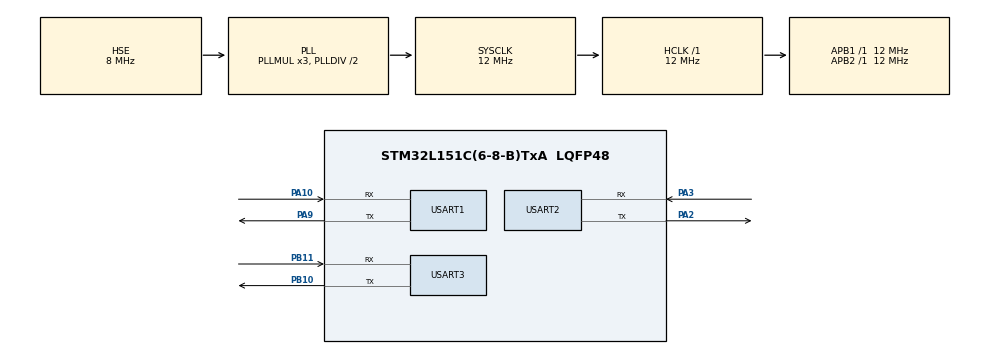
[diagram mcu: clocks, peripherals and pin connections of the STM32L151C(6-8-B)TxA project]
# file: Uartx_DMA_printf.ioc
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Dma.Request0=USART1_RX
Dma.Request1=USART1_TX
Dma.Request2=USART2_RX
Dma.Request3=USART2_TX
Dma.Request4=USART3_RX
Dma.Request5=USART3_TX
Dma.USART1_RX.0.Direction=DMA_PERIPH_TO_MEMORY
Dma.USART1_RX.0.Instance=DMA1_Channel5
Dma.USART1_RX.0.MemDataAlignment=DMA_MDATAALIGN_BYTE
Dma.USART1_RX.0.MemInc=DMA_MINC_ENABLE
Dma.USART1_RX.0.Mode=DMA_NORMAL
Dma.USART1_RX.0.PeriphDataAlignment=DMA_PDATAALIGN_BYTE
Dma.USART1_RX.0.PeriphInc=DMA_PINC_DISABLE
Dma.USART1_RX.0.Priority=DMA_PRIORITY_LOW
Dma.USART1_TX.1.Direction=DMA_MEMORY_TO_PERIPH
Dma.USART1_TX.1.Instance=DMA1_Channel4
Dma.USART1_TX.1.MemDataAlignment=DMA_MDATAALIGN_BYTE
Dma.USART1_TX.1.MemInc=DMA_MINC_ENABLE
Dma.USART1_TX.1.Mode=DMA_NORMAL
Dma.USART1_TX.1.PeriphDataAlignment=DMA_PDATAALIGN_BYTE
Dma.USART1_TX.1.PeriphInc=DMA_PINC_DISABLE
Dma.USART1_TX.1.Priority=DMA_PRIORITY_LOW
Dma.USART2_RX.2.Direction=DMA_PERIPH_TO_MEMORY
Dma.USART2_RX.2.Instance=DMA1_Channel6
Dma.USART2_RX.2.MemDataAlignment=DMA_MDATAALIGN_BYTE
Dma.USART2_RX.2.MemInc=DMA_MINC_ENABLE
Dma.USART2_RX.2.Mode=DMA_NORMAL
Dma.USART2_RX.2.PeriphDataAlignment=DMA_PDATAALIGN_BYTE
Dma.USART2_RX.2.PeriphInc=DMA_PINC_DISABLE
Dma.USART2_RX.2.Priority=DMA_PRIORITY_LOW
Dma.USART2_TX.3.Direction=DMA_MEMORY_TO_PERIPH
Dma.USART2_TX.3.Instance=DMA1_Channel7
Dma.USART2_TX.3.MemDataAlignment=DMA_MDATAALIGN_BYTE
Dma.USART2_TX.3.MemInc=DMA_MINC_ENABLE
Dma.USART2_TX.3.Mode=DMA_NORMAL
Dma.USART2_TX.3.PeriphDataAlignment=DMA_PDATAALIGN_BYTE
Dma.USART2_TX.3.PeriphInc=DMA_PINC_DISABLE
Dma.USART2_TX.3.Priority=DMA_PRIORITY_LOW
Dma.USART3_RX.4.Direction=DMA_PERIPH_TO_MEMORY
Dma.USART3_RX.4.Instance=DMA1_Channel3
Dma.USART3_RX.4.MemDataAlignment=DMA_MDATAALIGN_BYTE
Dma.USART3_RX.4.MemInc=DMA_MINC_ENABLE
Dma.USART3_RX.4.Mode=DMA_NORMAL
Dma.USART3_RX.4.PeriphDataAlignment=DMA_PDATAALIGN_BYTE
Dma.USART3_RX.4.PeriphInc=DMA_PINC_DISABLE
Dma.USART3_RX.4.Priority=DMA_PRIORITY_LOW
Dma.USART3_TX.5.Direction=DMA_MEMORY_TO_PERIPH
Dma.USART3_TX.5.Instance=DMA1_Channel2
Dma.USART3_TX.5.MemDataAlignment=DMA_MDATAALIGN_BYTE
Dma.USART3_TX.5.MemInc=DMA_MINC_ENABLE
Dma.USART3_TX.5.Mode=DMA_NORMAL
Dma.USART3_TX.5.PeriphDataAlignment=DMA_PDATAALIGN_BYTE
Dma.USART3_TX.5.PeriphInc=DMA_PINC_DISABLE
Dma.USART3_TX.5.Priority=DMA_PRIORITY_LOW
Mcu.Family=STM32L1
Mcu.Name=STM32L151C(6-8-B)TxA
Mcu.Package=LQFP48
NVIC.DMA1_Channel2_IRQn=true\:0\:0\:false\:false\:true\:false\:true\:true
NVIC.DMA1_Channel3_IRQn=true\:0\:0\:false\:false\:true\:false\:true\:true
NVIC.DMA1_Channel4_IRQn=true\:0\:0\:false\:false\:true\:false\:true\:true
NVIC.DMA1_Channel5_IRQn=true\:0\:0\:false\:false\:true\:false\:true\:true
NVIC.DMA1_Channel6_IRQn=true\:0\:0\:false\:false\:true\:false\:true\:true
NVIC.DMA1_Channel7_IRQn=true\:0\:0\:false\:false\:true\:false\:true\:true
NVIC.PriorityGroup=NVIC_PRIORITYGROUP_4
NVIC.USART1_IRQn=true\:0\:0\:false\:false\:true\:false\:true\:true
NVIC.USART2_IRQn=true\:0\:0\:false\:false\:true\:false\:true\:true
NVIC.USART3_IRQn=true\:0\:0\:false\:false\:true\:false\:true\:true
PA10.Mode=Asynchronous
PA10.Signal=USART1_RX
PA13.Mode=Serial_Wire
PA13.Signal=SYS_JTMS-SWDIO
PA14.Mode=Serial_Wire
PA14.Signal=SYS_JTCK-SWCLK
PA2.Mode=Asynchronous
PA2.Signal=USART2_TX
PA3.Mode=Asynchronous
PA3.Signal=USART2_RX
PA9.Mode=Asynchronous
PA9.Signal=USART1_TX
PB10.Mode=Asynchronous
PB10.Signal=USART3_TX
PB11.Mode=Asynchronous
PB11.Signal=USART3_RX
PH0-OSC_IN.Mode=HSE-External-Oscillator
PH0-OSC_IN.Signal=RCC_OSC_IN
PH1-OSC_OUT.Mode=HSE-External-Oscillator
PH1-OSC_OUT.Signal=RCC_OSC_OUT
ProjectManager.HeapSize=0x200
ProjectManager.StackSize=0x400
ProjectManager.TargetToolchain=MDK-ARM V5.32
RCC.48MHZClocksFreq_Value=12000000
RCC.AHBFreq_Value=12000000
RCC.APB1Freq_Value=12000000
RCC.APB1TimFreq_Value=12000000
RCC.APB2Freq_Value=12000000
RCC.APB2TimFreq_Value=12000000
RCC.HCLKFreq_Value=12000000
RCC.HSE_VALUE=8000000
RCC.HSI_VALUE=16000000
RCC.LSE_VALUE=32768
RCC.MSI_VALUE=2097000
RCC.PLLSourceVirtual=RCC_PLLSOURCE_HSE
RCC.SYSCLKFreq_VALUE=12000000
RCC.SYSCLKSource=RCC_SYSCLKSOURCE_PLLCLK
RCC.VCOOutputFreq_Value=24000000
USART1.VirtualMode=VM_ASYNC
USART2.VirtualMode=VM_ASYNC
USART3.VirtualMode=VM_ASYNC
board=custom

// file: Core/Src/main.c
/* USER CODE BEGIN Header */
/**
  ******************************************************************************
  * @file           : main.c
  * @brief          : Main program body
  ******************************************************************************
  * @attention
  *
  * Copyright (c) 2026 STMicroelectronics.
  * All rights reserved.
  *
  * This software is licensed under terms that can be found in the LICENSE file
  * in the root directory of this software component.
  * If no LICENSE file comes with this software, it is provided AS-IS.
  *
  ******************************************************************************
  */
/* USER CODE END Header */
#include "main.h"
#include "dma.h"
#include "usart.h"
#include "gpio.h"

/* USER CODE BEGIN PD */
uint8_t RxBuffer[10];
uint8_t uart1_DMAFlag=RESET;
uint8_t uart2_DMAFlag=RESET;
uint8_t uart3_DMAFlag=RESET;
/* USER CODE END PD */

void SystemClock_Config(void);

int main(void)
{

  /* MCU Configuration--------------------------------------------------------*/

  /* Reset of all peripherals, Initializes the Flash interface and the Systick. */
  HAL_Init();

  /* Configure the system clock */
  SystemClock_Config();

  /* Initialize all configured peripherals */
  MX_GPIO_Init();
  MX_DMA_Init();
  MX_USART1_UART_Init();
  MX_USART2_UART_Init();
  MX_USART3_UART_Init();
  /* USER CODE BEGIN 2 */
  HAL_UART_Transmit_DMA(&huart1, (uint8_t*)"USART1 DMA\r\n", 13);
  HAL_UART_Transmit_DMA(&huart2, (uint8_t*)"USART2 DMA\r\n", 13);
  HAL_UART_Transmit_DMA(&huart3, (uint8_t*)"USART3 DMA\r\n", 13);
    HAL_UART_Receive_DMA(&huart1, RxBuffer, 10);
    HAL_UART_Receive_DMA(&huart2, RxBuffer, 10);
    HAL_UART_Receive_DMA(&huart3, RxBuffer, 10);
  /* USER CODE END 2 */

  /* Infinite loop */
  /* USER CODE BEGIN WHILE */
  while (1)
  {
    if (uart1_DMAFlag==SET)
    {
        uart1_DMAFlag=RESET;
        printf_DMA(&huart1, "This is USART1.Your message is: %s\r\n", RxBuffer);
    }
    if (uart2_DMAFlag==SET)
    {
        uart2_DMAFlag=RESET;
        printf_DMA(&huart2, "This is USART2.Your message is: %s\r\n", RxBuffer);
    }
    if (uart3_DMAFlag==SET)
    {
        uart3_DMAFlag=RESET;
        printf_DMA(&huart3, "This is USART3.Your message is: %s\r\n", RxBuffer);
    }

    /* USER CODE END WHILE */

  }
}

void SystemClock_Config(void)
{
  RCC_OscInitTypeDef RCC_OscInitStruct = {0};
  RCC_ClkInitTypeDef RCC_ClkInitStruct = {0};

  /** Configure the main internal regulator output voltage
  */
  __HAL_PWR_VOLTAGESCALING_CONFIG(PWR_REGULATOR_VOLTAGE_SCALE1);

  /** Initializes the RCC Oscillators according to the specified parameters
  * in the RCC_OscInitTypeDef structure.
  */
  RCC_OscInitStruct.OscillatorType = RCC_OSCILLATORTYPE_HSE;
  RCC_OscInitStruct.HSEState = RCC_HSE_ON;
  RCC_OscInitStruct.PLL.PLLState = RCC_PLL_ON;
  RCC_OscInitStruct.PLL.PLLSource = RCC_PLLSOURCE_HSE;
  RCC_OscInitStruct.PLL.PLLMUL = RCC_PLL_MUL3;
  RCC_OscInitStruct.PLL.PLLDIV = RCC_PLL_DIV2;
  if (HAL_RCC_OscConfig(&RCC_OscInitStruct) != HAL_OK)
  {
    Error_Handler();
  }

  /** Initializes the CPU, AHB and APB buses clocks
  */
  RCC_ClkInitStruct.ClockType = RCC_CLOCKTYPE_HCLK|RCC_CLOCKTYPE_SYSCLK
                              |RCC_CLOCKTYPE_PCLK1|RCC_CLOCKTYPE_PCLK2;
  RCC_ClkInitStruct.SYSCLKSource = RCC_SYSCLKSOURCE_PLLCLK;
  RCC_ClkInitStruct.AHBCLKDivider = RCC_SYSCLK_DIV1;
  RCC_ClkInitStruct.APB1CLKDivider = RCC_HCLK_DIV1;
  RCC_ClkInitStruct.APB2CLKDivider = RCC_HCLK_DIV1;

  if (HAL_RCC_ClockConfig(&RCC_ClkInitStruct, FLASH_LATENCY_0) != HAL_OK)
  {
    Error_Handler();
  }
}

/* USER CODE BEGIN 4 */
void HAL_UART_RxCpltCallback(UART_HandleTypeDef *huart)
{
	if (huart->Instance==USART1)
    {
        uart1_DMAFlag=SET;
    }
    else if (huart->Instance==USART2)
    {
        uart2_DMAFlag=SET;
    }
    else if (huart->Instance==USART3)
    {
        uart3_DMAFlag=SET;
    }
}
/* USER CODE END 4 */

void Error_Handler(void)
{
  __disable_irq();
  while (1)
  {
  }
}
